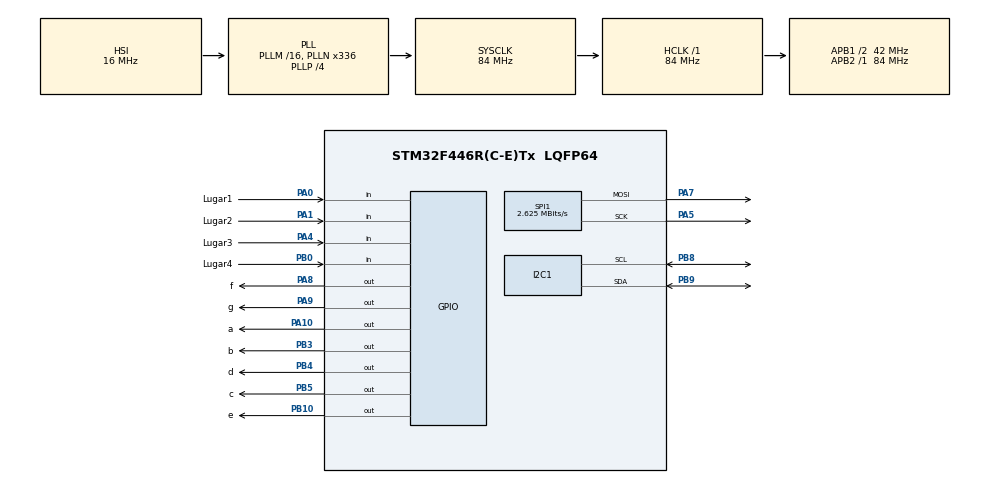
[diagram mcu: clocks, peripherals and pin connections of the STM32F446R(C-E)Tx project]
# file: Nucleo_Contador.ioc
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I2C1.DualAddressMode=I2C_DUALADDRESS_DISABLE
I2C1.OwnAddress=0
Mcu.Family=STM32F4
Mcu.Name=STM32F446R(C-E)Tx
Mcu.Package=LQFP64
NVIC.I2C1_ER_IRQn=true\:0\:0\:false\:false\:true\:true\:true\:true
NVIC.I2C1_EV_IRQn=true\:0\:0\:false\:false\:true\:true\:true\:true
NVIC.PriorityGroup=NVIC_PRIORITYGROUP_0
NVIC.SPI1_IRQn=true\:0\:0\:false\:false\:true\:true\:true\:true
PA0-WKUP.GPIO_Label=Lugar1
PA0-WKUP.GPIO_PuPd=GPIO_PULLDOWN
PA0-WKUP.Signal=GPIO_Input
PA1.GPIO_Label=Lugar2
PA1.GPIO_PuPd=GPIO_PULLDOWN
PA1.Signal=GPIO_Input
PA10.GPIO_Label=a
PA10.Signal=GPIO_Output
PA13.GPIO_Label=TMS
PA13.Signal=SYS_JTMS-SWDIO
PA14.GPIO_Label=TCK
PA14.Signal=SYS_JTCK-SWCLK
PA2.GPIO_Label=USART_TX
PA2.Signal=USART2_TX
PA4.GPIO_Label=Lugar3
PA4.GPIO_PuPd=GPIO_PULLDOWN
PA4.Signal=GPIO_Input
PA5.Mode=TX_Only_Simplex_Unidirect_Master
PA5.Signal=SPI1_SCK
PA7.Mode=TX_Only_Simplex_Unidirect_Master
PA7.Signal=SPI1_MOSI
PA8.GPIO_Label=f
PA8.Signal=GPIO_Output
PA9.GPIO_Label=g
PA9.Signal=GPIO_Output
PB0.GPIO_Label=Lugar4
PB0.GPIO_PuPd=GPIO_PULLDOWN
PB0.Signal=GPIO_Input
PB10.GPIO_Label=e
PB10.Signal=GPIO_Output
PB3.GPIO_Label=b
PB3.Signal=GPIO_Output
PB4.GPIO_Label=d
PB4.Signal=GPIO_Output
PB5.GPIO_Label=c
PB5.Signal=GPIO_Output
PB8.GPIO_Pu=GPIO_NOPULL
PB8.Mode=I2C
PB8.Signal=I2C1_SCL
PB9.GPIO_Pu=GPIO_NOPULL
PB9.Mode=I2C
PB9.Signal=I2C1_SDA
PC14-OSC32_IN.Signal=RCC_OSC32_IN
PC15-OSC32_OUT.Signal=RCC_OSC32_OUT
PH0-OSC_IN.Signal=RCC_OSC_IN
PH1-OSC_OUT.Signal=RCC_OSC_OUT
ProjectManager.HeapSize=0x200
ProjectManager.StackSize=0x400
ProjectManager.TargetToolchain=STM32CubeIDE
RCC.AHBFreq_Value=84000000
RCC.APB1CLKDivider=RCC_HCLK_DIV2
RCC.APB1Freq_Value=42000000
RCC.APB1TimFreq_Value=84000000
RCC.APB2Freq_Value=84000000
RCC.APB2TimFreq_Value=84000000
RCC.CortexFreq_Value=84000000
RCC.FLatency-AdvancedSettings=FLASH_LATENCY_2
RCC.HCLKFreq_Value=84000000
RCC.HSE_VALUE=8000000
RCC.HSI_VALUE=16000000
RCC.LSE_VALUE=32768
RCC.PLLN=336
RCC.PLLP=RCC_PLLP_DIV4
RCC.SYSCLKFreq_VALUE=84000000
RCC.SYSCLKSource=RCC_SYSCLKSOURCE_PLLCLK
RCC.USBFreq_Value=168000000
RCC.VCOOutputFreq_Value=336000000
SPI1.BaudRatePrescaler=SPI_BAUDRATEPRESCALER_32
SPI1.CalculateBaudRate=2.625 MBits/s
SPI1.Direction=SPI_DIRECTION_2LINES
SPI1.Mode=SPI_MODE_MASTER
SPI1.VirtualType=VM_MASTER
board=NUCLEO-F446RE

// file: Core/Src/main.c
/* USER CODE BEGIN Header */
/**
  ******************************************************************************
  * @file           : main.c
  * @brief          : Main program body (Nucleo1)
  ******************************************************************************
  */
 /* USER CODE END Header */
#include "main.h"

/* USER CODE BEGIN Includes */
#include <string.h>
#include <stdbool.h>
#include <stdio.h>
/* USER CODE END Includes */

/* ===== Debug opcional por UART2 ===== */
#define ENABLE_UART_DEBUG 0

/* ===== I2C registros con ESP32@0x30 ===== */
#define ESP32_ADDR_7B   0x30
#define REG_UP          0x01
#define REG_DN          0x02
#define REG_ALL         0x03
#define REG_FREE        0x04
#define I2C_TIMEOUT_MS  20

/* ===== IR locales ===== */
#define IR_ACTIVE_LOW   1
#define DEBOUNCE_MS     12

/* ===== DRDY en PA5 ===== */
#ifndef DRDY_Pin
#define DRDY_Pin       GPIO_PIN_5
#define DRDY_GPIO_Port GPIOA
#endif
#define DRDY_PULSE_MS  2

#define BIT(v,i)       (((v) >> (i)) & 0x1)

/* ===== WS2812 por SPI1 MOSI (PA7) ===== */
#define N_LEDS           16
#define BYTES_PER_LED     9     /* codificación 3:1 => 24*3 bits */
#define RESET_BYTES      64
#define MIDDLE_WHITE      1     /* 1 = separadores en blanco tenue */

/* USER CODE END PD */

#if ENABLE_UART_DEBUG
  #include "usart.h"
  #define uprintf(...) do{ char __b[160]; int __n = snprintf(__b,sizeof(__b), __VA_ARGS__); \
      if(__n>0){ HAL_UART_Transmit(&huart2,(uint8_t*)__b,(uint16_t)strnlen(__b,sizeof(__b)),50);} }while(0)
#else
  #define uprintf(...) ((void)0)
#endif

I2C_HandleTypeDef hi2c1;
SPI_HandleTypeDef hspi1;

/* USER CODE BEGIN PV */
#if ENABLE_UART_DEBUG
extern UART_HandleTypeDef huart2;
#endif

static volatile uint8_t pk_up_bits = 0x00;  /* P1..P4 locales */
static volatile uint8_t pk_dn_bits = 0x00;  /* P5..P8 remotos */
static uint32_t last_scan_ms = 0;
static uint8_t  prev_disp    = 0xFF;

static uint8_t spi_buf[N_LEDS*BYTES_PER_LED + RESET_BYTES];

/* ---- Mapeo físico del 4x4 (serpentina típica) ----
   Fila 0 (arriba):  0  1  2  3
   Fila 1:           7  6  5  4
   Fila 2:           8  9 10 11
   Fila 3 (abajo):  15 14 13 12

   Ajusta estos arreglos si tu panel está invertido.
*/
static const uint8_t COL1_IDX[4] = { 0, 7,  8, 15 };  /* columna izquierda = P1..P4 */
static const uint8_t COL4_IDX[4] = { 3, 4, 11, 12 };  /* columna derecha  = P5..P8 */
static const uint8_t COL2_IDX[4] = { 1, 6,  9, 14 };  /* separador */
static const uint8_t COL3_IDX[4] = { 2, 5, 10, 13 };  /* separador */
/* USER CODE END PV */

void SystemClock_Config(void);
static void MX_GPIO_Init(void);
static void MX_I2C1_Init(void);
static void MX_SPI1_Init(void);

/* ===== 7 segmentos ===== */
static inline void seg_set_raw(uint8_t a_on, uint8_t b_on, uint8_t c_on,
                               uint8_t d_on, uint8_t e_on, uint8_t f_on, uint8_t g_on);
static void seg_show_digit(uint8_t d);
static void refresh_display_if_needed(uint8_t up_bits, uint8_t dn_bits);

/* ===== IR ===== */
static inline uint8_t read_ir_pin(GPIO_TypeDef* port, uint16_t pin);
static uint8_t read_P1_P4(void);

/* ===== I2C ===== */
static bool I2C_WriteReg(uint8_t reg, uint8_t val);
static bool I2C_ReadReg(uint8_t reg, uint8_t *val);

/* ===== DRDY ===== */
static void drdy_pulse(void);

/* ===== WS2812 por SPI1 ===== */
static inline uint32_t expand8_to24_3b(uint8_t v);
static inline void write24(uint8_t* dst, uint32_t v24);
static void ws2812_encode_led(int led_idx, uint8_t r, uint8_t g, uint8_t b);
static void ws2812_clear(void);
static void ws2812_show(void);
static void neopixel_update(uint8_t up_bits, uint8_t dn_bits);

/* ===== ciclo ===== */
static void do_i2c_exchange(void);

/* ================== Código ================== */
static void seg_set_raw(uint8_t a_on, uint8_t b_on, uint8_t c_on,
                        uint8_t d_on, uint8_t e_on, uint8_t f_on, uint8_t g_on)
{
  HAL_GPIO_WritePin(a_GPIO_Port, a_Pin, a_on ? GPIO_PIN_SET : GPIO_PIN_RESET);
  HAL_GPIO_WritePin(b_GPIO_Port, b_Pin, b_on ? GPIO_PIN_SET : GPIO_PIN_RESET);
  HAL_GPIO_WritePin(c_GPIO_Port, c_Pin, c_on ? GPIO_PIN_SET : GPIO_PIN_RESET);
  HAL_GPIO_WritePin(d_GPIO_Port, d_Pin, d_on ? GPIO_PIN_SET : GPIO_PIN_RESET);
  HAL_GPIO_WritePin(e_GPIO_Port, e_Pin, e_on ? GPIO_PIN_SET : GPIO_PIN_RESET);
  HAL_GPIO_WritePin(f_GPIO_Port, f_Pin, f_on ? GPIO_PIN_SET : GPIO_PIN_RESET);
  HAL_GPIO_WritePin(g_GPIO_Port, g_Pin, g_on ? GPIO_PIN_SET : GPIO_PIN_RESET);
}
static void seg_show_digit(uint8_t d){
  switch (d){
    case 0: seg_set_raw(1,1,1,1,1,1,0); break;
    case 1: seg_set_raw(0,1,1,0,0,0,0); break;
    case 2: seg_set_raw(1,1,0,1,1,0,1); break;
    case 3: seg_set_raw(1,1,1,1,0,0,1); break;
    case 4: seg_set_raw(0,1,1,0,0,1,1); break;
    case 5: seg_set_raw(1,0,1,1,0,1,1); break;
    case 6: seg_set_raw(1,0,1,1,1,1,1); break;
    case 7: seg_set_raw(1,1,1,0,0,0,0); break;
    case 8: seg_set_raw(1,1,1,1,1,1,1); break;
    default: seg_set_raw(1,1,1,1,0,1,1); break; /* 9 */
  }
}
static void refresh_display_if_needed(uint8_t up_bits, uint8_t dn_bits){
  uint8_t occ_up = BIT(up_bits,0)+BIT(up_bits,1)+BIT(up_bits,2)+BIT(up_bits,3);
  uint8_t occ_dn = BIT(dn_bits,0)+BIT(dn_bits,1)+BIT(dn_bits,2)+BIT(dn_bits,3);
  int disp = 8 - (occ_up + occ_dn);
  if (disp < 0) { disp = 0; }
  if (disp > 9) { disp = 9; }
  if ((uint8_t)disp != prev_disp){
    seg_show_digit((uint8_t)disp);
    prev_disp = (uint8_t)disp;
    uprintf("[N1][7SEG] disponibles=%d (occ_up=%u, occ_dn=%u)\r\n", disp, occ_up, occ_dn);
  }
}

static inline uint8_t read_ir_pin(GPIO_TypeDef* port, uint16_t pin){
#if IR_ACTIVE_LOW
  return (HAL_GPIO_ReadPin(port, pin) == GPIO_PIN_RESET) ? 1u : 0u;
#else
  return (HAL_GPIO_ReadPin(port, pin) == GPIO_PIN_SET)   ? 1u : 0u;
#endif
}
static uint8_t read_P1_P4(void){
  uint32_t now = HAL_GetTick();
  if ((now - last_scan_ms) < DEBOUNCE_MS) return (pk_up_bits & 0x0F);
  last_scan_ms = now;

  uint8_t p1 = read_ir_pin(Lugar1_GPIO_Port, Lugar1_Pin);
  uint8_t p2 = read_ir_pin(Lugar2_GPIO_Port, Lugar2_Pin);
  uint8_t p3 = read_ir_pin(Lugar3_GPIO_Port, Lugar3_Pin);
  uint8_t p4 = read_ir_pin(Lugar4_GPIO_Port, Lugar4_Pin);
  return (uint8_t)((p1<<0)|(p2<<1)|(p3<<2)|(p4<<3));
}

static bool I2C_WriteReg(uint8_t reg, uint8_t val){
  return (HAL_I2C_Mem_Write(&hi2c1, (ESP32_ADDR_7B<<1), reg,
                            I2C_MEMADD_SIZE_8BIT, &val, 1, I2C_TIMEOUT_MS) == HAL_OK);
}
static bool I2C_ReadReg(uint8_t reg, uint8_t *val){
  return (HAL_I2C_Mem_Read(&hi2c1, (ESP32_ADDR_7B<<1), reg,
                           I2C_MEMADD_SIZE_8BIT, val, 1, I2C_TIMEOUT_MS) == HAL_OK);
}

static void drdy_pulse(void){
  HAL_GPIO_WritePin(DRDY_GPIO_Port, DRDY_Pin, GPIO_PIN_SET);
  HAL_Delay(DRDY_PULSE_MS);
  HAL_GPIO_WritePin(DRDY_GPIO_Port, DRDY_Pin, GPIO_PIN_RESET);
}

/* ---- Codificación 3:1 @ ~2.6 Mbps (1->110, 0->100) ---- */
static inline uint32_t expand8_to24_3b(uint8_t v) {
  uint32_t out = 0;
  for (int i=7; i>=0; --i){
    out <<= 3;
    out |= (v & (1u<<i)) ? 0b110 : 0b100;
  }
  return out & 0xFFFFFFu;
}
static inline void write24(uint8_t* dst, uint32_t v24){
  dst[0] = (uint8_t)((v24 >> 16) & 0xFF);
  dst[1] = (uint8_t)((v24 >>  8) & 0xFF);
  dst[2] = (uint8_t)( v24        & 0xFF);
}
static void ws2812_encode_led(int led_idx, uint8_t r, uint8_t g, uint8_t b){
  uint32_t G = expand8_to24_3b(g);
  uint32_t R = expand8_to24_3b(r);
  uint32_t B = expand8_to24_3b(b);
  int base = led_idx * BYTES_PER_LED;
  write24(&spi_buf[base+0], G);
  write24(&spi_buf[base+3], R);
  write24(&spi_buf[base+6], B);
}
static void ws2812_clear(void){
  for (int i=0;i<N_LEDS;i++) ws2812_encode_led(i, 0,0,0);
}
static void ws2812_show(void){
  for (int i=0;i<RESET_BYTES;i++) spi_buf[N_LEDS*BYTES_PER_LED + i] = 0x00;
  HAL_SPI_Transmit(&hspi1, spi_buf, sizeof(spi_buf), 100);
  HAL_Delay(1);
}

/* ---- Mapeo pedido: Columna 1 = P1..P4 ; Columna 4 = P5..P8 ; columnas 2 y 3 = separadores ---- */
static inline uint8_t B4(uint8_t v, int i){ return (v>>i)&1u; }
static void neopixel_update(uint8_t up_bits, uint8_t dn_bits){
  const uint8_t Rr=32, Rg=0,  Rb=0;   /* rojo tenue ocupado */
  const uint8_t Gr=0,  Gg=22, Gb=0;   /* verde tenue libre  */
  const uint8_t Wr=8,  Wg=8,  Wb=8;   /* blanco separador   */

  ws2812_clear();

  /* columna 1 -> P1..P4 */
  for (int i=0;i<4;i++){
    uint8_t idx = COL1_IDX[i];
    if (B4(up_bits,i)) ws2812_encode_led(idx, Rr,Rg,Rb);
    else               ws2812_encode_led(idx, Gr,Gg,Gb);
  }

  /* separadores (col 2 y 3) */
#if MIDDLE_WHITE
  for (int i=0;i<4;i++){ ws2812_encode_led(COL2_IDX[i], Wr,Wg,Wb); }
  for (int i=0;i<4;i++){ ws2812_encode_led(COL3_IDX[i], Wr,Wg,Wb); }
#endif

  /* columna 4 -> P5..P8 */
  for (int i=0;i<4;i++){
    uint8_t idx = COL4_IDX[i];
    if (B4(dn_bits,i)) ws2812_encode_led(idx, Rr,Rg,Rb);
    else               ws2812_encode_led(idx, Gr,Gg,Gb);
  }

  ws2812_show();
}

static void do_i2c_exchange(void){
  uint8_t old_up = pk_up_bits & 0x0F;
  uint8_t old_dn = pk_dn_bits & 0x0F;

  /* 1) locales */
  uint8_t new_up = read_P1_P4() & 0x0F;
  pk_up_bits = new_up;

  /* 2) avisar si cambió */
  static uint8_t last_sent_up = 0xFF;
  if (new_up != last_sent_up){
    (void)I2C_WriteReg(REG_UP, new_up);
    last_sent_up = new_up;
  }

  /* 3) leer remotos */
  uint8_t all=0xFF;
  if (I2C_ReadReg(REG_ALL, &all)){
    uint8_t up = (all & 0x0F);
    uint8_t dn = (all >> 4) & 0x0F;
    pk_dn_bits = (dn & 0x0F);
    if (up != pk_up_bits) pk_up_bits = up;
  }

  /* 4) DRDY si cambió */
  if ((old_up != pk_up_bits) || (old_dn != pk_dn_bits)) drdy_pulse();

  /* 5) display + leds */
  refresh_display_if_needed(pk_up_bits, pk_dn_bits);
  neopixel_update(pk_up_bits & 0x0F, pk_dn_bits & 0x0F);
}

/* ================== MAIN ================== */
int main(void)
{
  HAL_Init();
  SystemClock_Config();

  MX_GPIO_Init();
  MX_I2C1_Init();
  MX_SPI1_Init();

  pk_up_bits = read_P1_P4();
  pk_dn_bits = 0x00;
  prev_disp  = 0xFF;
  refresh_display_if_needed(pk_up_bits, pk_dn_bits);

  ws2812_clear();
  ws2812_show();
  neopixel_update(pk_up_bits & 0x0F, pk_dn_bits & 0x0F);

  while (1){
    do_i2c_exchange();
    HAL_Delay(15);
  }
}

/* ================== RCC ================== */
void SystemClock_Config(void)
{
  RCC_OscInitTypeDef RCC_OscInitStruct = {0};
  RCC_ClkInitTypeDef RCC_ClkInitStruct = {0};

  __HAL_RCC_PWR_CLK_ENABLE();
  __HAL_PWR_VOLTAGESCALING_CONFIG(PWR_REGULATOR_VOLTAGE_SCALE3);

  RCC_OscInitStruct.OscillatorType = RCC_OSCILLATORTYPE_HSI;
  RCC_OscInitStruct.HSIState = RCC_HSI_ON;
  RCC_OscInitStruct.HSICalibrationValue = RCC_HSICALIBRATION_DEFAULT;
  RCC_OscInitStruct.PLL.PLLState = RCC_PLL_ON;
  RCC_OscInitStruct.PLL.PLLSource = RCC_PLLSOURCE_HSI;
  RCC_OscInitStruct.PLL.PLLM = 16;
  RCC_OscInitStruct.PLL.PLLN = 336;
  RCC_OscInitStruct.PLL.PLLP = RCC_PLLP_DIV4;
  RCC_OscInitStruct.PLL.PLLQ = 2;
  RCC_OscInitStruct.PLL.PLLR = 2;
  if (HAL_RCC_OscConfig(&RCC_OscInitStruct) != HAL_OK){ Error_Handler(); }

  RCC_ClkInitStruct.ClockType = RCC_CLOCKTYPE_HCLK|RCC_CLOCKTYPE_SYSCLK
                              |RCC_CLOCKTYPE_PCLK1|RCC_CLOCKTYPE_PCLK2;
  RCC_ClkInitStruct.SYSCLKSource = RCC_SYSCLKSOURCE_PLLCLK;
  RCC_ClkInitStruct.AHBCLKDivider = RCC_SYSCLK_DIV1;
  RCC_ClkInitStruct.APB1CLKDivider = RCC_HCLK_DIV2;
  RCC_ClkInitStruct.APB2CLKDivider = RCC_HCLK_DIV1;
  if (HAL_RCC_ClockConfig(&RCC_ClkInitStruct, FLASH_LATENCY_2) != HAL_OK){ Error_Handler(); }
}

/* ================== I2C1 ================== */
static void MX_I2C1_Init(void)
{
  hi2c1.Instance = I2C1;
  hi2c1.Init.ClockSpeed = 100000;
  hi2c1.Init.DutyCycle = I2C_DUTYCYCLE_2;
  hi2c1.Init.OwnAddress1 = 0;
  hi2c1.Init.AddressingMode = I2C_ADDRESSINGMODE_7BIT;
  hi2c1.Init.DualAddressMode = I2C_DUALADDRESS_DISABLE;
  hi2c1.Init.OwnAddress2 = 0;
  hi2c1.Init.GeneralCallMode = I2C_GENERALCALL_DISABLE;
  hi2c1.Init.NoStretchMode = I2C_NOSTRETCH_DISABLE;
  if (HAL_I2C_Init(&hi2c1) != HAL_OK){ Error_Handler(); }
}

/* ================== SPI1 (WS2812) ================== */
static void MX_SPI1_Init(void)
{
  /* Transmit Only Master por MOSI (PA7) */
  hspi1.Instance = SPI1;
  hspi1.Init.Mode = SPI_MODE_MASTER;
  hspi1.Init.Direction = SPI_DIRECTION_1LINE;
  hspi1.Init.DataSize = SPI_DATASIZE_8BIT;
  hspi1.Init.CLKPolarity = SPI_POLARITY_LOW;
  hspi1.Init.CLKPhase = SPI_PHASE_1EDGE;
  hspi1.Init.NSS = SPI_NSS_SOFT;
  hspi1.Init.BaudRatePrescaler = SPI_BAUDRATEPRESCALER_32; /* ≈2.6 Mbit/s */
  hspi1.Init.FirstBit = SPI_FIRSTBIT_MSB;
  hspi1.Init.TIMode = SPI_TIMODE_DISABLE;
  hspi1.Init.CRCCalculation = SPI_CRCCALCULATION_DISABLE;
  hspi1.Init.CRCPolynomial = 7;
  if (HAL_SPI_Init(&hspi1) != HAL_OK){ Error_Handler(); }
}

/* ================== GPIO ================== */
static void MX_GPIO_Init(void)
{
  GPIO_InitTypeDef GPIO_InitStruct = {0};

  __HAL_RCC_GPIOC_CLK_ENABLE();
  __HAL_RCC_GPIOH_CLK_ENABLE();
  __HAL_RCC_GPIOA_CLK_ENABLE();
  __HAL_RCC_GPIOB_CLK_ENABLE();

  HAL_GPIO_WritePin(GPIOB, e_Pin|b_Pin|d_Pin|c_Pin, GPIO_PIN_RESET);
  HAL_GPIO_WritePin(GPIOA, f_Pin|g_Pin|a_Pin, GPIO_PIN_RESET);

  /* IR: entradas con pulldown */
  GPIO_InitStruct.Pin = Lugar1_Pin|Lugar2_Pin|Lugar3_Pin;
  GPIO_InitStruct.Mode = GPIO_MODE_INPUT;
  GPIO_InitStruct.Pull = GPIO_PULLDOWN;
  HAL_GPIO_Init(GPIOA, &GPIO_InitStruct);

  GPIO_InitStruct.Pin = Lugar4_Pin;
  GPIO_InitStruct.Mode = GPIO_MODE_INPUT;
  GPIO_InitStruct.Pull = GPIO_PULLDOWN;
  HAL_GPIO_Init(Lugar4_GPIO_Port, &GPIO_InitStruct);

  /* 7 segmentos */
  GPIO_InitStruct.Pin = e_Pin|b_Pin|d_Pin|c_Pin;
  GPIO_InitStruct.Mode = GPIO_MODE_OUTPUT_PP;
  GPIO_InitStruct.Pull = GPIO_NOPULL;
  GPIO_InitStruct.Speed = GPIO_SPEED_FREQ_LOW;
  HAL_GPIO_Init(GPIOB, &GPIO_InitStruct);

  GPIO_InitStruct.Pin = f_Pin|g_Pin|a_Pin;
  GPIO_InitStruct.Mode = GPIO_MODE_OUTPUT_PP;
  GPIO_InitStruct.Pull = GPIO_NOPULL;
  GPIO_InitStruct.Speed = GPIO_SPEED_FREQ_LOW;
  HAL_GPIO_Init(GPIOA, &GPIO_InitStruct);

  /* DRDY */
  GPIO_InitStruct.Pin = DRDY_Pin;
  GPIO_InitStruct.Mode = GPIO_MODE_OUTPUT_PP;
  GPIO_InitStruct.Pull = GPIO_NOPULL;
  GPIO_InitStruct.Speed = GPIO_SPEED_FREQ_LOW;
  HAL_GPIO_Init(DRDY_GPIO_Port, &GPIO_InitStruct);
  HAL_GPIO_WritePin(DRDY_GPIO_Port, DRDY_Pin, GPIO_PIN_RESET);
}

/* ================== Error ================== */
void Error_Handler(void)
{
  __disable_irq();
  while (1){ }
}
